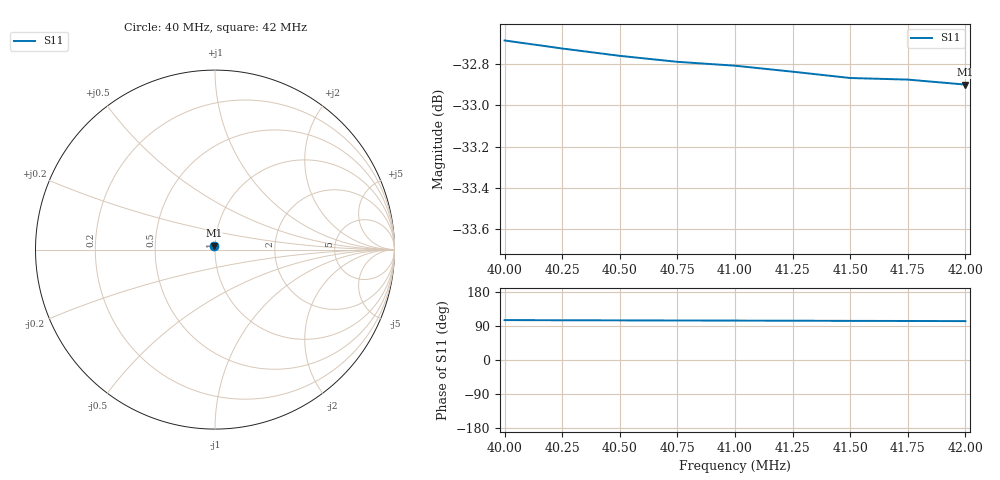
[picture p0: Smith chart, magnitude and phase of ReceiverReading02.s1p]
# Hz S RI R 50
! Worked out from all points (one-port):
!   9 points, 40 MHz to 42 MHz, reference 50 ohm
!   lowest |S11| = -32.9 dB at 42 MHz (marker M1), VSWR 1.05, Z = 49.5 + j2.19 ohm
!   |S11| at or under -10 dB: start of sweep to end of sweep
4e7  -0.00612 0.0224
4.025e7  -0.00594 0.0223
4.05e7  -0.00578 0.0223
4.075e7  -0.00565 0.0222
4.1e7  -0.00553 0.0222
4.125e7  -0.00538 0.0222
4.15e7  -0.00521 0.0221
4.175e7  -0.0051 0.0221
4.2e7  -0.00494 0.0221
